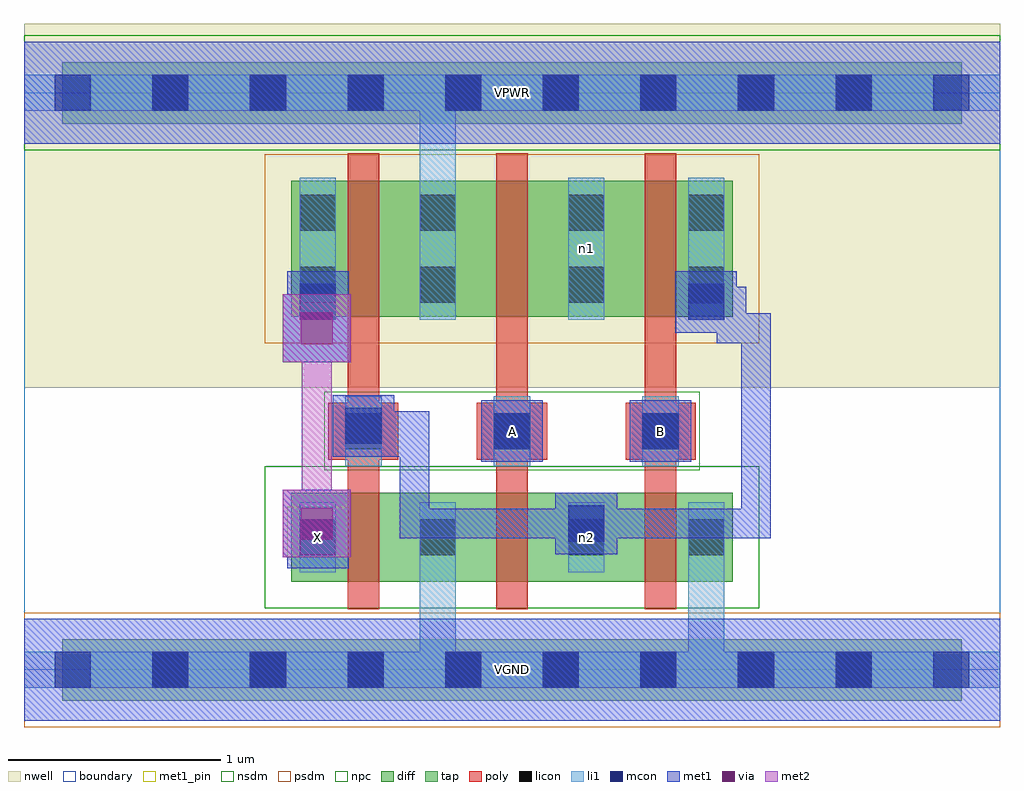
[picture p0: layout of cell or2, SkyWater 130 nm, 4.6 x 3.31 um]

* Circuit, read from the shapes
.subckt or2 A B VGND VPWR X n1 n2
XM1 VGND n2 X VGND sky130_fd_pr__nfet_01v8 w=0.42 l=0.15
XM2 n2 A VGND VGND sky130_fd_pr__nfet_01v8 w=0.42 l=0.15
XM3 VGND B n2 VGND sky130_fd_pr__nfet_01v8 w=0.42 l=0.15
XM4 VPWR n2 X VPWR sky130_fd_pr__pfet_01v8 w=0.64 l=0.15
XM5 n1 A VPWR VPWR sky130_fd_pr__pfet_01v8 w=0.64 l=0.15
XM6 n2 B n1 VPWR sky130_fd_pr__pfet_01v8 w=0.64 l=0.15
.ends

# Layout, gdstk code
import gdstk
lib = gdstk.Library(unit=1e-6, precision=1e-09)
def R(c, l, rs):  # rectangles x0, y0, x1, y1
    for r in rs: c.add(gdstk.rectangle(r[:2], r[2:], *l))
def A(c, l, x, y, w, h, nx, ny, dx, dy):  # array of equal rectangles
    R(c, l, [(x+i*dx, y+j*dy, x+i*dx+w, y+j*dy+h) for i in range(nx) for j in range(ny)])
nwell = (64, 20)
diff = (65, 20)
tap = (65, 44)
poly = (66, 20)
licon = (66, 44)
li1 = (67, 20)
mcon = (67, 44)
met1_pin = (68, 16)
met1 = (68, 20)
via = (68, 44)
met2 = (69, 20)
nsdm = (93, 44)
psdm = (94, 20)
npc = (95, 20)
boundary = (235, 4)

or2 = lib.new_cell('or2')
R(or2, nwell, [(0,1.33,4.6,3.045)])
R(or2, diff, [(1.26,0.415,3.34,0.835), (1.26,1.665,3.34,2.305)])
R(or2, tap, [(0.18,-0.145,4.42,0.145), (0.18,2.575,4.42,2.865)])
A(or2, poly, 1.525, 0.285, 0.15, 2.15, 3, 1, 0.7, 0)
A(or2, poly, 1.435, 0.99, 0.33, 0.27, 3, 1, 0.7, 0)
A(or2, licon, 0.605, -0.085, 0.17, 0.17, 8, 2, 0.46, 2.72)
A(or2, licon, 1.515, 1.04, 0.17, 0.17, 3, 1, 0.7, 0)
R(or2, licon, [(1.3,0.54,1.47,0.71), (1.865,0.54,2.035,0.71), (2.565,0.54,2.735,0.71), (3.13,0.54,3.3,0.71), (1.3,1.73,1.47,1.9), (1.865,1.73,2.035,1.9), (2.565,1.73,2.735,1.9), (3.13,1.73,3.3,1.9), (1.3,2.07,1.47,2.24), (1.865,2.07,2.035,2.24), (2.565,2.07,2.735,2.24), (3.13,2.07,3.3,2.24)])
A(or2, li1, 1.515, 0.96, 0.17, 0.33, 3, 1, 0.7, 0)
R(or2, li1, [(0,-0.085,4.6,0.085), (1.865,-0.085,2.035,0.79), (3.13,-0.085,3.3,0.79), (1.3,0.46,1.47,0.79), (1.865,0.46,2.035,0.79), (2.565,0.46,2.735,0.79), (3.13,0.46,3.3,0.79), (1.3,1.65,1.47,2.32), (1.865,1.65,2.035,2.32), (1.865,1.65,2.035,2.805), (2.565,1.65,2.735,2.32), (3.13,1.65,3.3,2.32), (0,2.635,4.6,2.805)])
A(or2, mcon, 0.145, -0.085, 0.17, 0.17, 10, 2, 0.46, 2.72)
R(or2, mcon, [(1.3,0.54,1.47,0.71), (2.565,0.605,2.735,0.775), (2.215,1.04,2.385,1.21), (2.915,1.04,3.085,1.21), (1.515,1.065,1.685,1.235), (1.3,1.65,1.47,1.82), (3.13,1.65,3.3,1.82)])
R(or2, met1_pin, [(0,-0.24,4.6,0.24), (1.24,0.48,1.53,0.77), (2.155,0.98,2.445,1.27), (2.855,0.98,3.145,1.27), (0,2.48,4.6,2.96)])
R(or2, met1, [(0,-0.24,4.6,0.24), (1.24,0.48,1.53,0.77), (1.22,0.53,1.54,0.85), (2.505,0.545,2.795,0.835), (1.31,0.62,1.45,0.76), (1.77,0.62,1.91,1.22), (1.77,0.62,2.6,0.76), (2.46,0.62,2.72,0.76), (2.46,0.62,3.52,0.76), (3.38,0.62,3.52,1.68), (2.155,0.98,2.445,1.27), (2.855,0.98,3.145,1.27), (1.455,1.005,1.745,1.295), (1.745,1.005,1.77,1.22), (1.53,1.08,1.795,1.22), (1.655,1.08,1.91,1.22), (1.22,1.45,1.54,1.77), (1.31,1.54,1.45,1.805), (3.265,1.54,3.405,1.805), (3.265,1.54,3.52,1.68), (1.24,1.59,1.53,1.88), (3.07,1.59,3.36,1.88), (1.31,1.665,1.455,1.805), (3.145,1.665,3.405,1.805), (0,2.48,4.6,2.96)])
R(or2, via, [(1.305,0.615,1.455,0.765), (1.305,1.535,1.455,1.685)])
R(or2, met2, [(1.22,0.53,1.54,0.85), (1.31,0.62,1.45,1.68), (1.22,1.45,1.54,1.77)])
R(or2, nsdm, [(1.135,0.29,3.465,0.96), (0,2.45,4.6,2.99)])
R(or2, psdm, [(0,-0.27,4.6,0.27), (1.135,1.54,3.465,2.43)])
R(or2, npc, [(1.415,0.94,3.185,1.31)])
R(or2, boundary, [(0,0,4.6,2.72)])
or2.add(gdstk.Label('n2', (2.65,0.625), layer=67, texttype=5))
or2.add(gdstk.Label('n1', (2.65,1.985), layer=67, texttype=5))
or2.add(gdstk.Label('A', (2.3,1.125), layer=68, texttype=5))
or2.add(gdstk.Label('B', (3,1.125), layer=68, texttype=5))
or2.add(gdstk.Label('X', (1.385,0.625), layer=68, texttype=5))
or2.add(gdstk.Label('VPWR', (2.3,2.72), layer=68, texttype=5))
or2.add(gdstk.Label('VGND', (2.3,0), layer=68, texttype=5))
or2.add(gdstk.Label('A', (2.3,1.125), layer=68, texttype=16))
or2.add(gdstk.Label('B', (3,1.125), layer=68, texttype=16))
or2.add(gdstk.Label('X', (1.385,0.625), layer=68, texttype=16))
or2.add(gdstk.Label('VPWR', (2.3,2.72), layer=68, texttype=16))
or2.add(gdstk.Label('VGND', (2.3,0), layer=68, texttype=16))

lib.write_gds('or2.gds')
